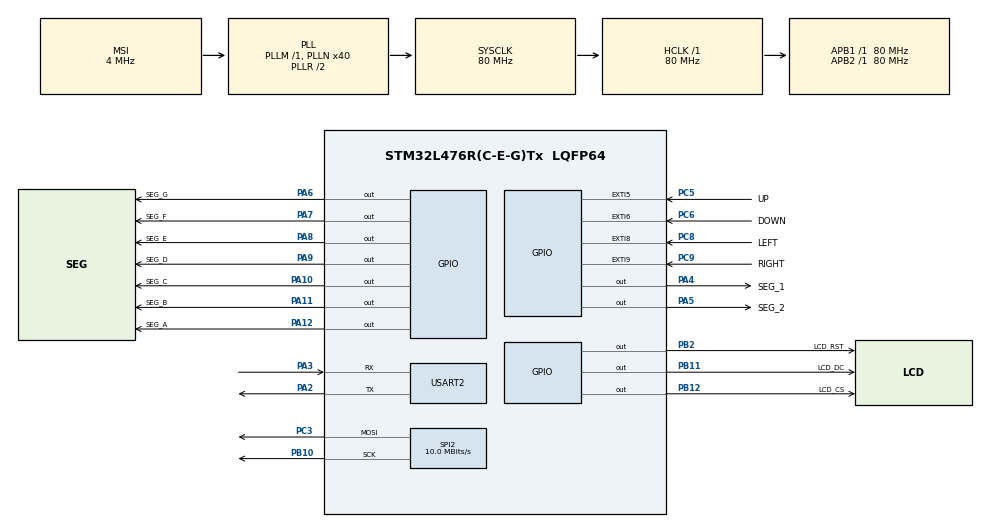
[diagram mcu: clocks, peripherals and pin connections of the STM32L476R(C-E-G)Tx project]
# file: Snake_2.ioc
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Mcu.Family=STM32L4
Mcu.Name=STM32L476R(C-E-G)Tx
Mcu.Package=LQFP64
NVIC.EXTI9_5_IRQn=true\:4\:0\:true\:false\:true\:true\:true\:true
NVIC.PriorityGroup=NVIC_PRIORITYGROUP_4
NVIC.TIM6_DAC_IRQn=true\:10\:0\:true\:false\:true\:true\:true\:true
PA10.GPIO_Label=SEG_C
PA10.Signal=GPIO_Output
PA11.GPIO_Label=SEG_B
PA11.Signal=GPIO_Output
PA12.GPIO_Label=SEG_A
PA12.Signal=GPIO_Output
PA13\ (JTMS-SWDIO).Mode=Serial_Wire
PA13\ (JTMS-SWDIO).Signal=SYS_JTMS-SWDIO
PA14\ (JTCK-SWCLK).Mode=Serial_Wire
PA14\ (JTCK-SWCLK).Signal=SYS_JTCK-SWCLK
PA2.Mode=Asynchronous
PA2.Signal=USART2_TX
PA3.Mode=Asynchronous
PA3.Signal=USART2_RX
PA4.GPIO_Label=SEG_1
PA4.GPIO_ModeDefaultOutputPP=GPIO_MODE_OUTPUT_OD
PA4.GPIO_PuPd=GPIO_NOPULL
PA4.PinState=GPIO_PIN_SET
PA4.Signal=GPIO_Output
PA5.GPIO_Label=SEG_2
PA5.GPIO_ModeDefaultOutputPP=GPIO_MODE_OUTPUT_OD
PA5.GPIO_PuPd=GPIO_NOPULL
PA5.PinState=GPIO_PIN_SET
PA5.Signal=GPIO_Output
PA6.GPIO_Label=SEG_G
PA6.Signal=GPIO_Output
PA7.GPIO_Label=SEG_F
PA7.Signal=GPIO_Output
PA8.GPIO_Label=SEG_E
PA8.Signal=GPIO_Output
PA9.GPIO_Label=SEG_D
PA9.Signal=GPIO_Output
PB10.Mode=TX_Only_Simplex_Unidirect_Master
PB10.Signal=SPI2_SCK
PB11.GPIO_Label=LCD_DC
PB11.Signal=GPIO_Output
PB12.GPIO_Label=LCD_CS
PB12.PinState=GPIO_PIN_SET
PB12.Signal=GPIO_Output
PB2.GPIO_Label=LCD_RST
PB2.Signal=GPIO_Output
PC3.Mode=TX_Only_Simplex_Unidirect_Master
PC3.Signal=SPI2_MOSI
PC5.GPIO_Label=UP
PC5.GPIO_ModeDefaultEXTI=GPIO_MODE_IT_FALLING
PC5.GPIO_PuPd=GPIO_PULLUP
PC5.Signal=GPXTI5
PC6.GPIO_Label=DOWN
PC6.GPIO_ModeDefaultEXTI=GPIO_MODE_IT_FALLING
PC6.GPIO_PuPd=GPIO_PULLUP
PC6.Signal=GPXTI6
PC8.GPIO_Label=LEFT
PC8.GPIO_ModeDefaultEXTI=GPIO_MODE_IT_FALLING
PC8.GPIO_PuPd=GPIO_PULLUP
PC8.Signal=GPXTI8
PC9.GPIO_Label=RIGHT
PC9.GPIO_ModeDefaultEXTI=GPIO_MODE_IT_FALLING
PC9.GPIO_PuPd=GPIO_PULLUP
PC9.Signal=GPXTI9
ProjectManager.HeapSize=0x200
ProjectManager.StackSize=0x2000
ProjectManager.TargetToolchain=STM32CubeIDE
RCC.AHBFreq_Value=80000000
RCC.APB1Freq_Value=80000000
RCC.APB1TimFreq_Value=80000000
RCC.APB2Freq_Value=80000000
RCC.APB2TimFreq_Value=80000000
RCC.CortexFreq_Value=80000000
RCC.HCLKFreq_Value=80000000
RCC.HSE_VALUE=8000000
RCC.HSI_VALUE=16000000
RCC.LSE_VALUE=32768
RCC.MSI_VALUE=4000000
RCC.PLLN=40
RCC.SYSCLKFreq_VALUE=80000000
RCC.SYSCLKSource=RCC_SYSCLKSOURCE_PLLCLK
RCC.VCOOutputFreq_Value=160000000
SPI2.BaudRatePrescaler=SPI_BAUDRATEPRESCALER_8
SPI2.CalculateBaudRate=10.0 MBits/s
SPI2.DataSize=SPI_DATASIZE_8BIT
SPI2.Direction=SPI_DIRECTION_2LINES
SPI2.Mode=SPI_MODE_MASTER
SPI2.VirtualType=VM_MASTER
TIM6.Period=99
TIM6.Prescaler=99
USART2.VirtualMode-Asynchronous=VM_ASYNC
VP_TIM6_VS_ClockSourceINT.Mode=Enable_Timer
board=custom

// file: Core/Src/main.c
/* USER CODE BEGIN Header */
/**
  ******************************************************************************
  * @file           : main.c
  * @brief          : Main program body
  ******************************************************************************
  * @attention
  *
  * Copyright (c) 2023 STMicroelectronics.
  * All rights reserved.
  *
  * This software is licensed under terms that can be found in the LICENSE file
  * in the root directory of this software component.
  * If no LICENSE file comes with this software, it is provided AS-IS.
  *
  ******************************************************************************
  */
/* USER CODE END Header */
#include "main.h"
#include "spi.h"
#include "tim.h"
#include "usart.h"
#include "gpio.h"

/* USER CODE BEGIN Includes */

#include <stdio.h>
#include "lcd.h"
#include "snk.h"
#include <stdlib.h>
#include "seg7.h"

/* USER CODE END Includes */

void SystemClock_Config(void);

/* USER CODE BEGIN 0 */
int kierunek=2;

void HAL_GPIO_EXTI_Callback(uint16_t GPIO_Pin)
{
  if (GPIO_Pin == UP_Pin) {
	  kierunek=1;
  }else if(GPIO_Pin == RIGHT_Pin)
  {
	  kierunek=2;
  }else if(GPIO_Pin== DOWN_Pin)
  {
	  kierunek=3;
  }else if(GPIO_Pin== LEFT_Pin)
  {
	  kierunek=4;
  }

}
void HAL_TIM_PeriodElapsedCallback(TIM_HandleTypeDef *htim)
{
	if (htim == &htim6) {
		seg7_update();
	}
}
/* USER CODE END 0 */

int main(void)
{

  /* MCU Configuration--------------------------------------------------------*/

  /* Reset of all peripherals, Initializes the Flash interface and the Systick. */
  HAL_Init();

  /* Configure the system clock */
  SystemClock_Config();

  /* Initialize all configured peripherals */
  MX_GPIO_Init();
  MX_SPI2_Init();
  MX_USART2_UART_Init();
  MX_TIM6_Init();

  /* Infinite loop */
  /* USER CODE BEGIN WHILE */
  HAL_TIM_Base_Start_IT(&htim6);
  snkStart();
  lcd_init();
  while (1)
  {
	  HAL_Delay(130);
	  snk_eat();
	  snk_move(kierunek);
	  game_over();
	  snk_draw();
	  seg7_show(getScore());

    /* USER CODE END WHILE */

  }
}

void SystemClock_Config(void)
{
  RCC_OscInitTypeDef RCC_OscInitStruct = {0};
  RCC_ClkInitTypeDef RCC_ClkInitStruct = {0};

  /** Configure the main internal regulator output voltage
  */
  if (HAL_PWREx_ControlVoltageScaling(PWR_REGULATOR_VOLTAGE_SCALE1) != HAL_OK)
  {
    Error_Handler();
  }

  /** Initializes the RCC Oscillators according to the specified parameters
  * in the RCC_OscInitTypeDef structure.
  */
  RCC_OscInitStruct.OscillatorType = RCC_OSCILLATORTYPE_MSI;
  RCC_OscInitStruct.MSIState = RCC_MSI_ON;
  RCC_OscInitStruct.MSICalibrationValue = 0;
  RCC_OscInitStruct.MSIClockRange = RCC_MSIRANGE_6;
  RCC_OscInitStruct.PLL.PLLState = RCC_PLL_ON;
  RCC_OscInitStruct.PLL.PLLSource = RCC_PLLSOURCE_MSI;
  RCC_OscInitStruct.PLL.PLLM = 1;
  RCC_OscInitStruct.PLL.PLLN = 40;
  RCC_OscInitStruct.PLL.PLLP = RCC_PLLP_DIV7;
  RCC_OscInitStruct.PLL.PLLQ = RCC_PLLQ_DIV2;
  RCC_OscInitStruct.PLL.PLLR = RCC_PLLR_DIV2;
  if (HAL_RCC_OscConfig(&RCC_OscInitStruct) != HAL_OK)
  {
    Error_Handler();
  }

  /** Initializes the CPU, AHB and APB buses clocks
  */
  RCC_ClkInitStruct.ClockType = RCC_CLOCKTYPE_HCLK|RCC_CLOCKTYPE_SYSCLK
                              |RCC_CLOCKTYPE_PCLK1|RCC_CLOCKTYPE_PCLK2;
  RCC_ClkInitStruct.SYSCLKSource = RCC_SYSCLKSOURCE_PLLCLK;
  RCC_ClkInitStruct.AHBCLKDivider = RCC_SYSCLK_DIV1;
  RCC_ClkInitStruct.APB1CLKDivider = RCC_HCLK_DIV1;
  RCC_ClkInitStruct.APB2CLKDivider = RCC_HCLK_DIV1;

  if (HAL_RCC_ClockConfig(&RCC_ClkInitStruct, FLASH_LATENCY_4) != HAL_OK)
  {
    Error_Handler();
  }
}

void Error_Handler(void)
{
  __disable_irq();
  while (1)
  {
  }
}
